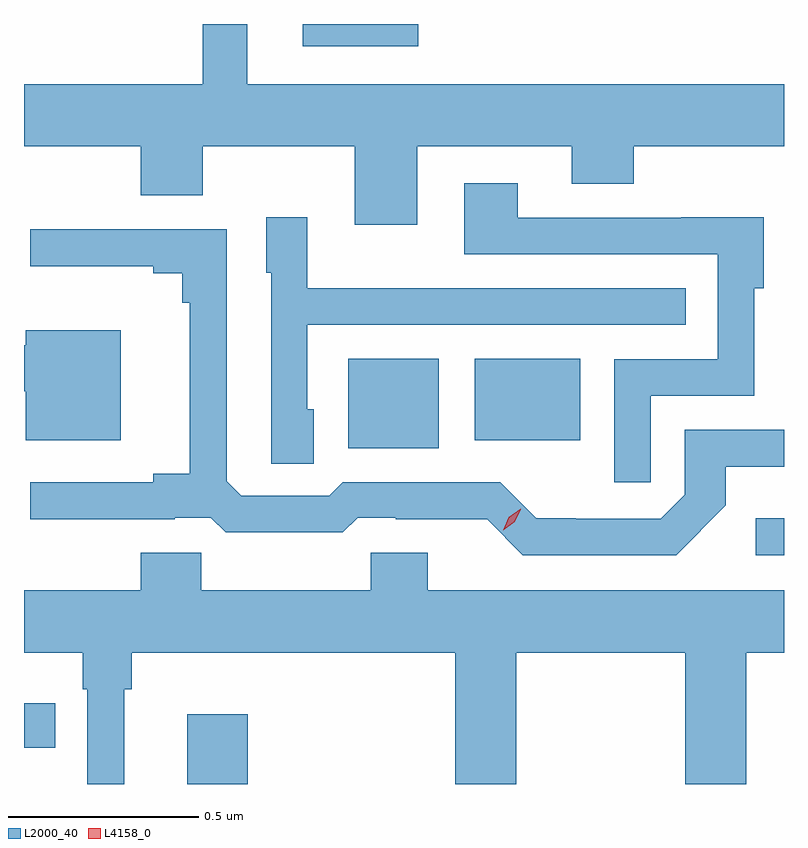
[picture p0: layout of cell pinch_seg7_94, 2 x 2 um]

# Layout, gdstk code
import gdstk
lib = gdstk.Library(unit=1e-6, precision=1e-09)
def R(c, l, rs):  # rectangles x0, y0, x1, y1
    for r in rs: c.add(gdstk.rectangle(r[:2], r[2:], *l))
def P(c, l, *ps):  # polygons
    for p in ps: c.add(gdstk.Polygon(p, *l))
L2000_40 = (2000, 40)
L4158_0 = (4158, 0)

pinch_seg7_94 = lib.new_cell('pinch_seg7_94')
R(pinch_seg7_94, L2000_40, [(893.276,1012.258,893.435,1012.441), (892.846,1012.354,892.928,1012.47), (894.771,1012.86,894.846,1012.957), (893.699,1013.141,893.938,1013.377), (894.032,1013.162,894.31,1013.377), (893.579,1014.2,893.884,1014.258)])
P(pinch_seg7_94, L2000_40, [(893.881,1013.936),(894.287,1013.936),(894.287,1013.837),(894.451,1013.837),(894.451,1013.936),(894.846,1013.936),(894.846,1014.1),(893.434,1014.1),(893.434,1014.258),(893.317,1014.258),(893.317,1014.1),(892.846,1014.1),(892.846,1013.936),(893.153,1013.936),(893.153,1013.808),(893.317,1013.808),(893.317,1013.936),(893.717,1013.936),(893.717,1013.73),(893.881,1013.73)],
  [(894.495,1013.28),(894.768,1013.28),(894.768,1013.562),(894.793,1013.562),(894.793,1013.75),(894.575,1013.75),(894.575,1013.748),(894.145,1013.748),(894.145,1013.839),(894.005,1013.839),(894.005,1013.652),(894.672,1013.652),(894.672,1013.376),(894.399,1013.376),(894.399,1013.052),(894.495,1013.052)],
  [(893.608,1013.244),(893.592,1013.244),(893.592,1013.466),(894.587,1013.466),(894.587,1013.562),(893.909,1013.562),(893.909,1013.563),(893.592,1013.563),(893.592,1013.749),(893.483,1013.749),(893.483,1013.604),(893.496,1013.604),(893.496,1013.101),(893.608,1013.101)],
  [(894.693,1012.991),(894.693,1013.093),(894.846,1013.093),(894.846,1013.19),(894.585,1013.19),(894.585,1013.019),(894.522,1012.956),(894.298,1012.956),(894.298,1012.958),(894.194,1012.958),(894.099,1013.052),(893.685,1013.052),(893.649,1013.016),(893.418,1013.016),(893.379,1013.055),(893.379,1013.718),(892.863,1013.718),(892.863,1013.621),(893.186,1013.621),(893.186,1013.602),(893.263,1013.602),(893.263,1013.525),(893.282,1013.525),(893.282,1013.075),(893.186,1013.075),(893.186,1013.052),(892.863,1013.052),(892.863,1012.955),(893.243,1012.955),(893.243,1012.959),(893.337,1012.959),(893.377,1012.92),(893.685,1012.92),(893.724,1012.959),(893.824,1012.959),(893.824,1012.955),(894.065,1012.955),(894.159,1012.86),(894.562,1012.86)],
  [(893.101,1013.452),(892.85,1013.452),(892.85,1013.413),(892.846,1013.413),(892.846,1013.291),(892.85,1013.291),(892.85,1013.162),(893.101,1013.162)],
  [(893.11,1012.508),(893.129,1012.508),(893.129,1012.604),(893.981,1012.604),(893.981,1012.258),(894.141,1012.258),(894.141,1012.604),(894.586,1012.604),(894.586,1012.258),(894.746,1012.258),(894.746,1012.604),(894.846,1012.604),(894.846,1012.768),(893.908,1012.768),(893.908,1012.866),(893.758,1012.866),(893.758,1012.768),(893.313,1012.768),(893.313,1012.866),(893.153,1012.866),(893.153,1012.768),(892.846,1012.768),(892.846,1012.604),(893,1012.604),(893,1012.508),(893.013,1012.508),(893.013,1012.258),(893.11,1012.258)])
P(pinch_seg7_94, L4158_0, [(894.107,1012.926),(894.107,1012.926),(894.122,1012.96),(894.153,1012.982),(894.153,1012.982),(894.153,1012.981),(894.138,1012.948),(894.107,1012.926)])

lib.write_gds('pinch_seg7_94.gds')
